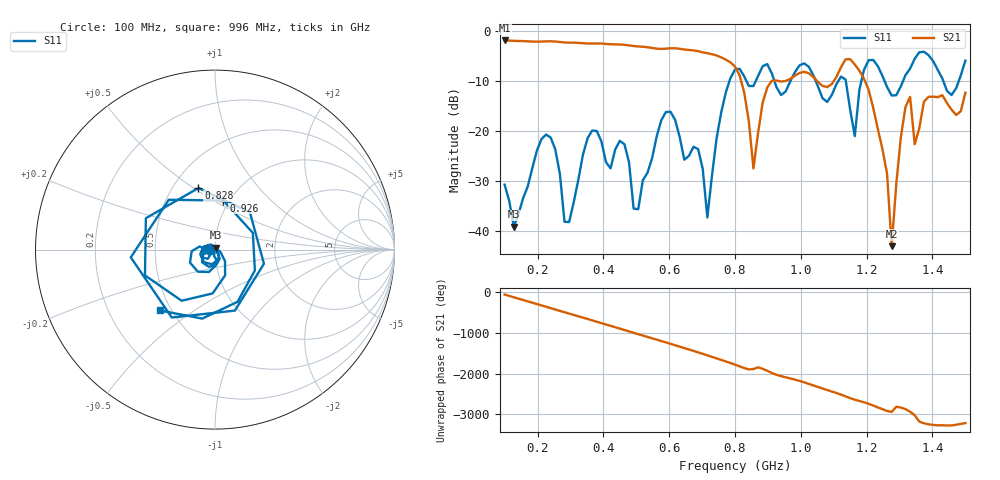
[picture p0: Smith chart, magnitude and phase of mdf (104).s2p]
! NanoVNA-App
! Date: 2025-09-25 17:41:46
! Start: 100MHz Stop: 1,5GHz Points: 101
! S-Parameter data: F S11 S21 S12 S22
# Hz S RI R 50
!  Frequency  S11_Real  S11_Imag  S21_Real  S21_Imag  S12_Real  S12_Imag  S22_Real  S22_Imag
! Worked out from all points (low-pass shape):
!   101 points, 100 MHz to 1.5 GHz, reference 50 ohm
!   highest |S21| = -1.80 dB at 100 MHz (marker M1); lowest = -43.0 dB at 1.276 GHz (marker M2)
!   |S21| within 3 dB of the highest: start of sweep to 743.7 MHz
!   lowest |S11| = -39.1 dB at 128 MHz (marker M3), VSWR 1.02, Z = 50.3 + j1.06 ohm
!   |S11| at or under -10 dB: start of sweep to 782.9 MHz; 1.046 GHz to 1.113 GHz (67.59 MHz wide, 6.26 % of centre); 1.255 GHz to 1.31 GHz (55.23 MHz wide, 4.31 % of centre)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
!   S12 and S22 are empty: the file has one direction only
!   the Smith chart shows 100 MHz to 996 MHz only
!   S11 on the Smith chart (normalised r, x): 100 MHz: 0.94, -0.01; 828 MHz: 0.67, +0.52; 926 MHz: 0.94, +0.56; 996 MHz: 0.43, -0.37
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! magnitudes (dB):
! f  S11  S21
! 100 MHz  -30.7  -1.8
! 128 MHz  -39.1  -1.9
! 212 MHz  -21.6  -2.0
! 282 MHz  -38.1  -2.2
! 338 MHz  -24.7  -2.3
! 464 MHz  -22.6  -2.7
! 506 MHz  -35.6  -3.0
! 576 MHz  -17.8  -3.5
! 688 MHz  -23.6  -3.9
! 716 MHz  -37.3  -4.4
! 800 MHz  -7.6  -7.0
! 828 MHz  -9.0  -12.2
! 856 MHz  -10.9  -27.4
! 926 MHz  -11.1  -9.8
! 996 MHz  -6.8  -8.3
! 1.038 GHz  -8.8  -9.1
! 1.164 GHz  -21.0  -6.6
! 1.192 GHz  -7.7  -9.5
! 1.276 GHz  -12.8  -43.0
! 1.332 GHz  -7.4  -13.1
! 1.346 GHz  -5.5  -22.6
! 1.5 GHz  -5.8  -12.3
